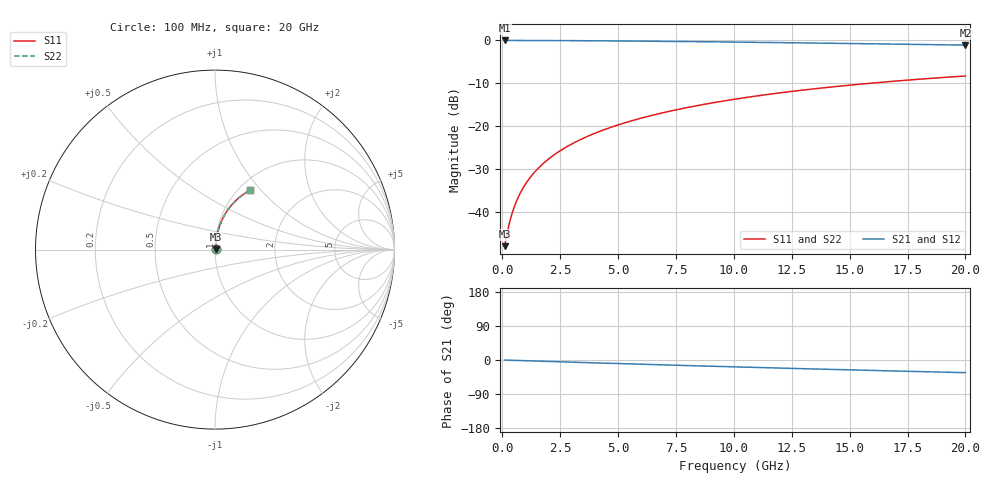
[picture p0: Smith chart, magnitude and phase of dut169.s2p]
! Touchstone file exported from HFSS 2024.1.0
!  File:  C:/UserFiles/LocalFiles/RDL_TSV_Batchsim/temp_RDL_top_169_1778685778.aedt
!  Generated:  11:25:17 PM May 13, 2026
!  Design:  RDL_top
!  Project:  temp_RDL_top_169_1778685778
!  Setup:  Setup1
!  Solution:  Sweep
! Variables:
!  dtsv = 10.80580581um
!  hbump = 3um
!  htsv = 56.35um
!  ldown = 100um
!  lrdl = 424.4um
!  p = 40
!  p1 = 45.91um
!  rhole = 1um
!  t = 450um
!  tdown = 3.915915916um
!  trdl = 3.4um
!  wdown = 15.38538539um
!  wrdl = 13.37um
# GHz S MA R 50.000000
! Terminal data exported
! Port[1] = Box2_T1
! Port[2] = Box2_T2
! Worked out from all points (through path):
!   200 points, 100 MHz to 20 GHz, reference 50 ohm
!   highest |S21| = -0.03 dB at 100 MHz (marker M1); lowest = -1.1 dB at 20 GHz (marker M2)
!   group delay of S21, straight-line fit = 4.64 ps
!   lowest |S11| = -47.8 dB at 100 MHz (marker M3), VSWR 1.01, Z = 50.3 + j0.219 ohm
!   |S11| at or under -10 dB: start of sweep to 15.84 GHz
!   |S22| runs from -47.8 to -8.3 dB; largest |S21 - S12| = 2.7e-15
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0.1  0.004054 32.4  0.9966 -0.2  0.9966 -0.2  0.004054 32.4
! Gamma 0 0 0 0
! Port Impedance 50 0 50 0
0.2  0.005558 51.1  0.9965 -0.4  0.9965 -0.4  0.005558 51.1
0.3  0.007379 60.9  0.9964 -0.6  0.9964 -0.6  0.007379 60.9
0.4  0.009312 66.6  0.9963 -0.8  0.9963 -0.8  0.009312 66.6
0.5  0.01129 70.3  0.9962 -1.0  0.9962 -1.0  0.01129 70.3
0.6  0.01328 72.8  0.9961 -1.2  0.9961 -1.2  0.01328 72.8
0.8  0.0173 76.1  0.9958 -1.5  0.9958 -1.5  0.0173 76.1
1.1  0.02337 78.9  0.9954 -2.1  0.9954 -2.1  0.02337 78.9
1.5  0.03154 80.7  0.9948 -2.9  0.9948 -2.9  0.03154 80.7
1.8  0.03769 81.5  0.9943 -3.4  0.9943 -3.4  0.03769 81.5
2.1  0.04387 81.9  0.9936 -4.0  0.9936 -4.0  0.04387 81.9
2.7  0.05625 82.2  0.9921 -5.1  0.9921 -5.1  0.05625 82.2
3.5  0.07282 82.0  0.9896 -6.6  0.9896 -6.6  0.07282 82.0
4.2  0.08734 81.5  0.987 -7.9  0.987 -7.9  0.08734 81.5
5  0.1039 80.7  0.9836 -9.4  0.9836 -9.4  0.1039 80.7
5.9  0.1226 79.7  0.9792 -11.0  0.9792 -11.0  0.1226 79.7
6.8  0.1412 78.6  0.9744 -12.6  0.9744 -12.6  0.1412 78.6
8.3  0.172 76.5  0.9656 -15.2  0.9656 -15.2  0.172 76.5
10.1  0.2083 73.9  0.954 -18.3  0.954 -18.3  0.2082 73.9
13.4  0.272 69.0  0.9307 -23.6  0.9307 -23.6  0.272 69.0
16.7  0.3313 64.1  0.9056 -28.6  0.9056 -28.6  0.3312 64.1
20  0.3852 59.4  0.8795 -33.4  0.8795 -33.4  0.3852 59.3
